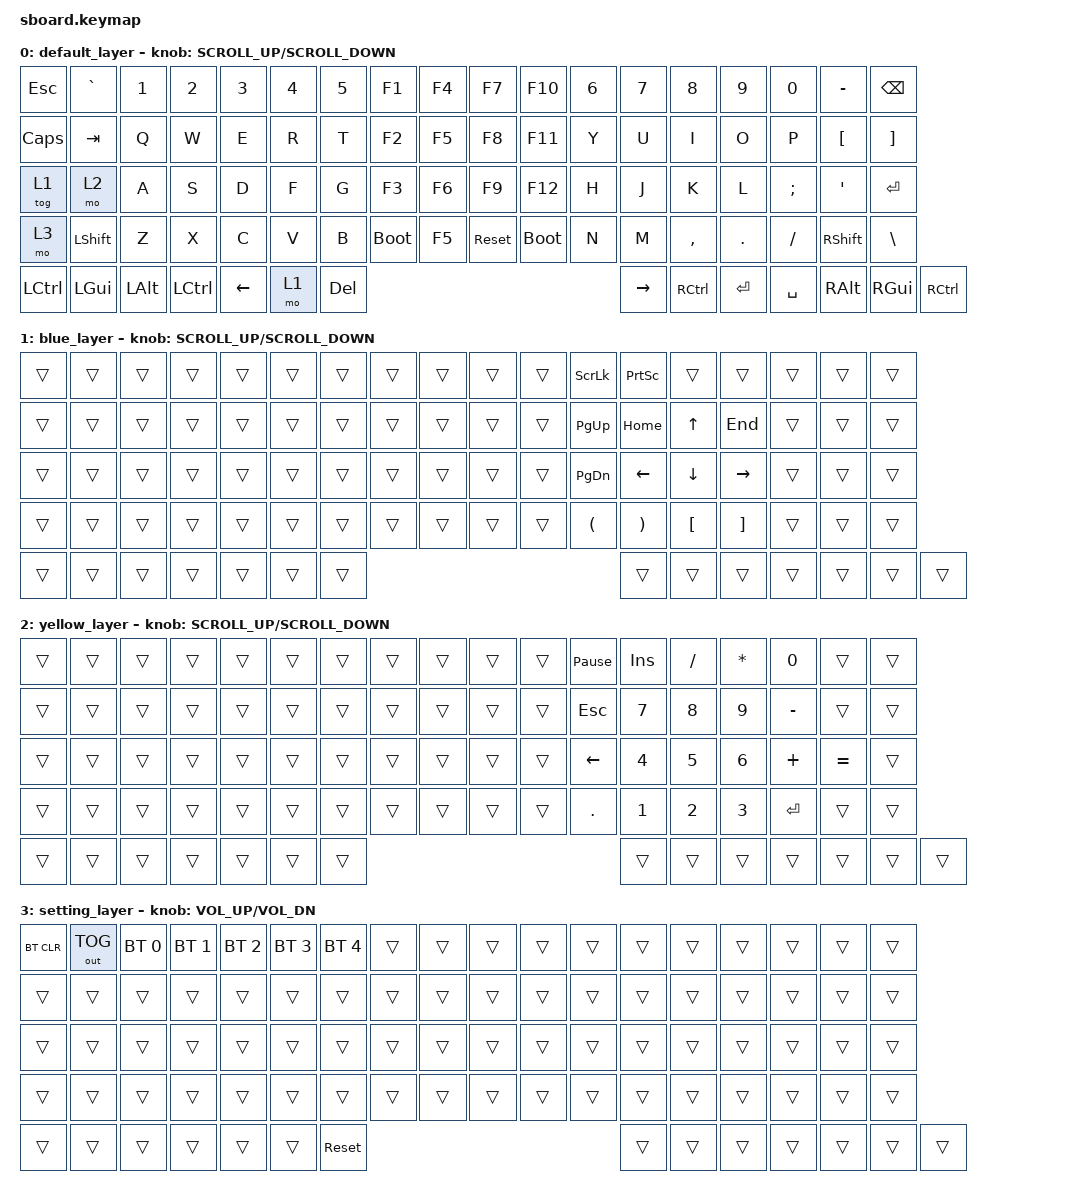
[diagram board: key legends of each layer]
#include <behaviors.dtsi>
#include <dt-bindings/zmk/keys.h>
#include <dt-bindings/zmk/bt.h>
#include <dt-bindings/zmk/ext_power.h>
#include <dt-bindings/zmk/mouse.h>
#include <dt-bindings/zmk/outputs.h>

#define BASE    0
#define BLUE    1
#define YELLOW  2
#define SETTING 3

&mwh {
    delay-ms = <0>;
    acceleration-exponent = <1>;
    time-to-max-speed-ms = <0>;
};

/ {
    behaviors {
		inc_dec_mwh: behavior_sensor_rotate_mouse_wheel {
			compatible = "zmk,behavior-sensor-rotate-var";
			label = "ENC_MOUSE_WHEEL";
            #sensor-binding-cells = <2>;
         	bindings = <&mwh>, <&mwh>;
		};
	};

    keymap {
        compatible = "zmk,keymap";

        default_layer {
// -------------------------------------------------------------------------------------------------------------------------------------
// |  ESC  |  `    |  1  |  2   |  3   |  4   |  5   |   F1   |  F4 |          | F7 | F10  |  6   |  7  |  8  |  9  |  0  |  -  |BKSP  |
// | CAPS  | TAB   |  Q  |  W   |  E   |  R   |  T   |   F2   |  F5 |          | F8 | F11  |  Y   |  U  |  I  |  O  |  p  |  [  |  ]   |    
// |  FnB  | FnY   |  A  |  S   |  D   |  F   |  G   |   F3   |  F6 |          | F9 | F12  |  H   |  J  |  K  |  L  |  ;  |  '  |Enter |    
// | Tri   | SHIFT |  Z  |  X   |  C   |  V   |  B   |   __   |  __ |          | -- | --   |  N   |  M  |  ,  |  .  |  /  |SHIFT|  \   |
// | CTRL  | GUI   | ALT |      |      |      |      |        |     |          |    |      |      |     |     |     | ALT |GUI  | CTRL |
// |       |       |     |      |      |      |      |   FnB  | Del |          |ENT |Space |
// |       |       |     |      |      |      |      |  Ctrl  |  __ |          |->  |Ctrl  |   
            bindings = <
&kp ESC     &kp GRAVE  &kp N1   &kp N2    &kp N3   &kp N4   &kp N5  &kp F1  &kp F4       &kp F7      &kp F10     &kp N6  &kp N7  &kp N8    &kp N9  &kp N0   &kp MINUS &kp BSPC
&kp CAPS    &kp TAB    &kp Q    &kp W     &kp E    &kp R    &kp T   &kp F2  &kp F5       &kp F8      &kp F11     &kp Y   &kp U   &kp I     &kp O   &kp P    &kp LBKT  &kp RBKT
&tog 1      &mo 2      &kp A    &kp S     &kp D    &kp F    &kp G   &kp F3  &kp F6       &kp F9      &kp F12     &kp H   &kp J   &kp K     &kp L   &kp SEMI &kp APOS  &kp ENTER
&mo 3       &kp LSHFT  &kp Z    &kp X     &kp C    &kp V    &kp B   &bootloader &kp F5   &sys_reset  &bootloader &kp N   &kp M   &kp COMMA &kp DOT &kp SLASH &kp RSHIFT &kp BSLH
&kp LCTRL   &kp LGUI   &kp LALT &kp LCTRL &kp LEFT  &mo 1   &kp DEL                                              &kp RIGHT &kp RCTRL &kp ENTER &kp SPACE &kp RALT &kp RGUI &kp RCTRL                                                 
            >;

            sensor-bindings = <&inc_dec_mwh SCROLL_UP  SCROLL_DOWN>;
        };

        blue_layer {                
            bindings = <
&trans      &trans  &trans  &trans  &trans    &trans    &trans  &trans  &trans            &trans  &trans  &kp SLCK     &kp PSCRN    &trans    &trans   &trans  &trans &trans
&trans      &trans  &trans  &trans  &trans    &trans    &trans  &trans  &trans            &trans  &trans  &kp PG_UP    &kp HOME     &kp UP    &kp END  &trans  &trans &trans
&trans      &trans  &trans  &trans  &trans    &trans    &trans  &trans  &trans            &trans  &trans  &kp PG_DN    &kp LEFT     &kp DOWN  &kp RIGHT &trans  &trans &trans
&trans      &trans  &trans  &trans  &trans    &trans    &trans  &trans  &trans            &trans  &trans  &kp LPAR     &kp RPAR     &kp LBKT  &kp RBKT &trans  &trans &trans
&trans      &trans  &trans  &trans  &trans    &trans    &trans                                            &trans       &trans       &trans    &trans   &trans  &trans &trans
            >;

            sensor-bindings = <&inc_dec_mwh SCROLL_UP  SCROLL_DOWN>;
        };

        yellow_layer {            
            bindings = <
&trans      &trans  &trans  &trans  &trans    &trans    &trans  &trans  &trans            &trans  &trans  &kp PAUSE_BREAK &kp INS   &kp SLASH &kp STAR &kp N0     &trans    &trans
&trans      &trans  &trans  &trans  &trans    &trans    &trans  &trans  &trans            &trans  &trans  &kp ESC      &kp N7       &kp N8    &kp N9   &kp MINUS  &trans    &trans
&trans      &trans  &trans  &trans  &trans    &trans    &trans  &trans  &trans            &trans  &trans  &kp LEFT     &kp N4       &kp N5    &kp N6   &kp PLUS   &kp EQUAL &trans
&trans      &trans  &trans  &trans  &trans    &trans    &trans  &trans  &trans            &trans  &trans  &kp DOT      &kp N1       &kp N2    &kp N3   &kp ENTER  &trans    &trans
&trans      &trans  &trans  &trans  &trans    &trans    &trans                                            &trans       &trans       &trans    &trans   &trans     &trans    &trans
            >;

            sensor-bindings = <&inc_dec_mwh SCROLL_UP  SCROLL_DOWN>;
        };

        setting_layer {                 
            bindings = <
&bt BT_CLR  &out OUT_TOG &bt BT_SEL 0 &bt BT_SEL 1 &bt BT_SEL 2 &bt BT_SEL 3 &bt BT_SEL 4 &trans &trans            &trans &trans &trans &trans &trans &trans &trans &trans &trans
&trans      &trans   &trans &trans &trans &trans &trans &trans  &trans      &trans &trans &trans &trans &trans &trans &trans &trans &trans
&trans      &trans   &trans &trans &trans &trans &trans &trans  &trans      &trans &trans &trans &trans &trans &trans &trans &trans &trans
&trans      &trans   &trans &trans &trans &trans &trans &trans  &trans      &trans &trans &trans &trans &trans &trans &trans &trans &trans 
&trans      &trans  &trans  &trans &trans &trans &sys_reset                               &trans &trans &trans &trans &trans &trans &trans
            >;

            sensor-bindings = <&inc_dec_kp C_VOL_UP C_VOL_DN>;
        };
    };
};



// Allow USB logging
&usbd {
	status = "okay";
	cdc_acm_uart: cdc_acm_uart {
		compatible = "zephyr,cdc-acm-uart";
		label = "CDC_ACM_0";
	};
};
